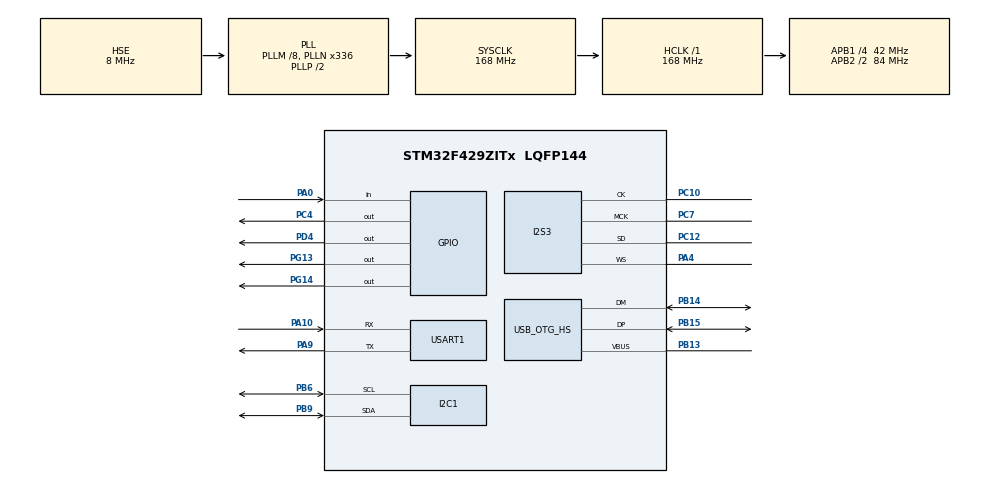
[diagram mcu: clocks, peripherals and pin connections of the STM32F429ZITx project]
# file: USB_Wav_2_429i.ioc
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Dma.Request0=SPI3_TX
Dma.SPI3_TX.0.Direction=DMA_MEMORY_TO_PERIPH
Dma.SPI3_TX.0.FIFOMode=DMA_FIFOMODE_ENABLE
Dma.SPI3_TX.0.FIFOThreshold=DMA_FIFO_THRESHOLD_FULL
Dma.SPI3_TX.0.Instance=DMA1_Stream5
Dma.SPI3_TX.0.MemBurst=DMA_MBURST_SINGLE
Dma.SPI3_TX.0.MemDataAlignment=DMA_MDATAALIGN_HALFWORD
Dma.SPI3_TX.0.MemInc=DMA_MINC_ENABLE
Dma.SPI3_TX.0.Mode=DMA_CIRCULAR
Dma.SPI3_TX.0.PeriphBurst=DMA_PBURST_SINGLE
Dma.SPI3_TX.0.PeriphDataAlignment=DMA_PDATAALIGN_HALFWORD
Dma.SPI3_TX.0.PeriphInc=DMA_PINC_DISABLE
Dma.SPI3_TX.0.Priority=DMA_PRIORITY_LOW
I2S3.AudioFreq=I2S_AUDIOFREQ_44K
I2S3.ErrorAudioFreq=0.24 %
I2S3.FullDuplexMode=I2S_FULLDUPLEXMODE_DISABLE
I2S3.Instance=SPI$Index
I2S3.RealAudioFreq=44.108 KHz
I2S3.VirtualMode=I2S_MODE_MASTER
Mcu.Family=STM32F4
Mcu.Name=STM32F429ZITx
Mcu.Package=LQFP144
NVIC.DMA1_Stream5_IRQn=true\:0\:0\:false\:false\:true\:false\:true\:true
NVIC.OTG_HS_IRQn=true\:0\:0\:false\:false\:true\:false\:true\:true
NVIC.PriorityGroup=NVIC_PRIORITYGROUP_0
PA0/WKUP.Signal=GPIO_Input
PA10.Mode=Asynchronous
PA10.Signal=USART1_RX
PA4.Mode=Half_Duplex_Master
PA4.Signal=I2S3_WS
PA9.Mode=Asynchronous
PA9.Signal=USART1_TX
PB13.Mode=Activate_VBUS_FS
PB13.Signal=USB_OTG_HS_VBUS
PB14.Mode=Host_FS
PB14.Signal=USB_OTG_HS_DM
PB15.Mode=Host_FS
PB15.Signal=USB_OTG_HS_DP
PB6.Mode=I2C
PB6.Signal=I2C1_SCL
PB9.Mode=I2C
PB9.Signal=I2C1_SDA
PC10.Mode=Half_Duplex_Master
PC10.Signal=I2S3_CK
PC12.Mode=Half_Duplex_Master
PC12.Signal=I2S3_SD
PC4.Signal=GPIO_Output
PC7.Mode=Master_Clock_Activated
PC7.Signal=I2S3_MCK
PD4.Signal=GPIO_Output
PG13.Signal=GPIO_Output
PG14.Signal=GPIO_Output
PH0/OSC_IN.Mode=HSE-External-Oscillator
PH0/OSC_IN.Signal=RCC_OSC_IN
PH1/OSC_OUT.Mode=HSE-External-Oscillator
PH1/OSC_OUT.Signal=RCC_OSC_OUT
ProjectManager.HeapSize=0x2000
ProjectManager.StackSize=0x2000
ProjectManager.TargetToolchain=STM32CubeIDE
RCC.48MHZClocksFreq_Value=48000000
RCC.AHBFreq_Value=168000000
RCC.APB1CLKDivider=RCC_HCLK_DIV4
RCC.APB1Freq_Value=42000000
RCC.APB1TimFreq_Value=84000000
RCC.APB2CLKDivider=RCC_HCLK_DIV2
RCC.APB2Freq_Value=84000000
RCC.APB2TimFreq_Value=168000000
RCC.CortexFreq_Value=168000000
RCC.HCLKFreq_Value=168000000
RCC.HSE_VALUE=8000000
RCC.HSI_VALUE=16000000
RCC.LSE_VALUE=32768
RCC.PLLI2SN=271
RCC.PLLI2SR=6
RCC.PLLM=8
RCC.PLLN=336
RCC.PLLQ=7
RCC.SYSCLKFreq_VALUE=168000000
RCC.SYSCLKSource=RCC_SYSCLKSOURCE_PLLCLK
RCC.VCOOutputFreq_Value=336000000
USART1.VirtualMode=VM_ASYNC
USB_HOST.BSP.number=1
USB_HOST.USBH_HandleTypeDef-MSC_HS=hUsbHostHS
USB_HOST.VirtualModeHS=Msc
USB_HOST0.BSP.STBoard=false
USB_HOST0.BSP.api=Unknown
USB_HOST0.BSP.condition=SW_VBUS_DRIVE_MSC_HS \= false
USB_HOST0.BSP.instance=PC4
USB_HOST0.BSP.ip=GPIO
USB_HOST0.BSP.mode=Output
USB_HOST0.BSP.name=Drive_VBUS_HS
USB_HOST0.BSP.solution=PC4
USB_OTG_HS.VirtualMode-Host_FS=Host_FS
VP_FATFS_VS_USB.Mode=USB
VP_USB_HOST_VS_USB_HOST_MSC_HS.Mode=MSC_HS
board=STM32F429I-DISC1

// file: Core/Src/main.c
/* USER CODE BEGIN Header */
/**
  ******************************************************************************
  * @file           : main.c
  * @brief          : Main program body
  ******************************************************************************
  * @attention
  *
  * Copyright (c) 2023 STMicroelectronics.
  * All rights reserved.
  *
  * This software is licensed under terms that can be found in the LICENSE file
  * in the root directory of this software component.
  * If no LICENSE file comes with this software, it is provided AS-IS.
  *
  ******************************************************************************
  */
/* USER CODE END Header */
#include "main.h"
#include "fatfs.h"
#include "usb_host.h"

/* USER CODE BEGIN Includes */
#include "audioI2S.h"
#include "MY_CS43L22.h"
#include "wav_player.h"
/* USER CODE END Includes */

/* USER CODE BEGIN PTD */
extern ApplicationTypeDef Appli_state;
/* USER CODE END PTD */

I2C_HandleTypeDef hi2c1;

I2S_HandleTypeDef hi2s3;
DMA_HandleTypeDef hdma_spi3_tx;

UART_HandleTypeDef huart1;

/* USER CODE BEGIN PV */
//#define WAV_FILE1 "/Can.wav"
#define WAV_FILE1 "/Test1.wav"
#define WAV_FILE2 "/Test2.wav"
#define WAV_FILE3 "/Track1.wav"

/* USER CODE END PV */

void SystemClock_Config(void);
static void MX_GPIO_Init(void);
static void MX_DMA_Init(void);
static void MX_I2C1_Init(void);
static void MX_I2S3_Init(void);
static void MX_USART1_UART_Init(void);
void MX_USB_HOST_Process(void);

int main(void)
{

  /* MCU Configuration--------------------------------------------------------*/

  /* Reset of all peripherals, Initializes the Flash interface and the Systick. */
  HAL_Init();

  /* Configure the system clock */
  SystemClock_Config();

  /* Initialize all configured peripherals */
  MX_GPIO_Init();
  MX_DMA_Init();
  MX_I2C1_Init();
  MX_I2S3_Init();
  MX_USART1_UART_Init();
  MX_USB_HOST_Init();
  MX_FATFS_Init();
  /* USER CODE BEGIN 2 */
  CS43_Init1(hi2c1, MODE_I2S);
  CS43_SetVolume(150);
  CS43_Enable_RightLeft(CS43_RIGHT_LEFT);

  audioI2S_setHandle(&hi2s3);
  bool isSdCardMounted = 0;
  bool pauseResumeToggle = 0;
  /* USER CODE END 2 */

  /* Infinite loop */
  /* USER CODE BEGIN WHILE */
  uint8_t playCount = 0;
  char wavFileArray[3][15] = {WAV_FILE1, WAV_FILE2, WAV_FILE3};
  HAL_UART_Transmit(&huart1, (uint8_t*)"Hello world, this is Wave player\r\n", 30, 1000);
  while (1)
  {
    /* USER CODE END WHILE */
    MX_USB_HOST_Process();

    /* USER CODE BEGIN 3 */
    if(Appli_state == APPLICATION_START)
    {
      HAL_GPIO_WritePin(GPIOG, GPIO_PIN_13, GPIO_PIN_SET);
    }
    else if(Appli_state == APPLICATION_DISCONNECT)
    {
      HAL_GPIO_WritePin(GPIOG, GPIO_PIN_13, GPIO_PIN_RESET);
      f_mount(NULL, (TCHAR const*)"", 0);
      isSdCardMounted = 0;
    }

    if(Appli_state == APPLICATION_READY)
    {
      if(!isSdCardMounted)
      {
        f_mount(&USBHFatFS, (const TCHAR*)USBHPath, 0);
        isSdCardMounted = 1;
      }

      {
        while(playCount < 3) {
        	if(HAL_GPIO_ReadPin(GPIOA, GPIO_PIN_0))
            HAL_GPIO_WritePin(GPIOG, GPIO_PIN_14, GPIO_PIN_SET);
            HAL_Delay(500);

			//wavPlayer_fileSelect(WAV_FILE3);
			wavPlayer_fileSelect(wavFileArray[playCount]);

        	//wavPlayer_fileSelect(wavFileArray[playCount]);
			wavPlayer_play();

			while(!wavPlayer_isFinished())
			{
			  wavPlayer_process();
			  if(HAL_GPIO_ReadPin(GPIOA, GPIO_PIN_0))
			  {
				pauseResumeToggle ^= 1;
				if(pauseResumeToggle)
				{
				  HAL_GPIO_WritePin(GPIOG, GPIO_PIN_14, GPIO_PIN_SET);
				  wavPlayer_pause();
				  HAL_Delay(200);
				}
				else
				{
				  HAL_GPIO_WritePin(GPIOG, GPIO_PIN_14, GPIO_PIN_RESET);
				  HAL_Delay(1000);
				  if(HAL_GPIO_ReadPin(GPIOA, GPIO_PIN_0))
				  {
					wavPlayer_stop();
				  }
				  {
					wavPlayer_resume();
				  }
				}
			  }
			}
	        HAL_GPIO_WritePin(GPIOG, GPIO_PIN_13, GPIO_PIN_RESET);
	        playCount ++;
	        HAL_Delay(1000);
        }
      }
    }
  }
  /* USER CODE END 3 */
}

void SystemClock_Config(void)
{
  RCC_OscInitTypeDef RCC_OscInitStruct = {0};
  RCC_ClkInitTypeDef RCC_ClkInitStruct = {0};

  /** Configure the main internal regulator output voltage
  */
  __HAL_RCC_PWR_CLK_ENABLE();
  __HAL_PWR_VOLTAGESCALING_CONFIG(PWR_REGULATOR_VOLTAGE_SCALE1);

  /** Initializes the RCC Oscillators according to the specified parameters
  * in the RCC_OscInitTypeDef structure.
  */
  RCC_OscInitStruct.OscillatorType = RCC_OSCILLATORTYPE_HSE;
  RCC_OscInitStruct.HSEState = RCC_HSE_ON;
  RCC_OscInitStruct.PLL.PLLState = RCC_PLL_ON;
  RCC_OscInitStruct.PLL.PLLSource = RCC_PLLSOURCE_HSE;
  RCC_OscInitStruct.PLL.PLLM = 8;
  RCC_OscInitStruct.PLL.PLLN = 336;
  RCC_OscInitStruct.PLL.PLLP = RCC_PLLP_DIV2;
  RCC_OscInitStruct.PLL.PLLQ = 7;
  if (HAL_RCC_OscConfig(&RCC_OscInitStruct) != HAL_OK)
  {
    Error_Handler();
  }

  /** Initializes the CPU, AHB and APB buses clocks
  */
  RCC_ClkInitStruct.ClockType = RCC_CLOCKTYPE_HCLK|RCC_CLOCKTYPE_SYSCLK
                              |RCC_CLOCKTYPE_PCLK1|RCC_CLOCKTYPE_PCLK2;
  RCC_ClkInitStruct.SYSCLKSource = RCC_SYSCLKSOURCE_PLLCLK;
  RCC_ClkInitStruct.AHBCLKDivider = RCC_SYSCLK_DIV1;
  RCC_ClkInitStruct.APB1CLKDivider = RCC_HCLK_DIV4;
  RCC_ClkInitStruct.APB2CLKDivider = RCC_HCLK_DIV2;

  if (HAL_RCC_ClockConfig(&RCC_ClkInitStruct, FLASH_LATENCY_5) != HAL_OK)
  {
    Error_Handler();
  }
}

static void MX_I2C1_Init(void)
{

  hi2c1.Instance = I2C1;
  hi2c1.Init.ClockSpeed = 100000;
  hi2c1.Init.DutyCycle = I2C_DUTYCYCLE_2;
  hi2c1.Init.OwnAddress1 = 0;
  hi2c1.Init.AddressingMode = I2C_ADDRESSINGMODE_7BIT;
  hi2c1.Init.DualAddressMode = I2C_DUALADDRESS_DISABLE;
  hi2c1.Init.OwnAddress2 = 0;
  hi2c1.Init.GeneralCallMode = I2C_GENERALCALL_DISABLE;
  hi2c1.Init.NoStretchMode = I2C_NOSTRETCH_DISABLE;
  if (HAL_I2C_Init(&hi2c1) != HAL_OK)
  {
    Error_Handler();
  }

  /** Configure Analogue filter
  */
  if (HAL_I2CEx_ConfigAnalogFilter(&hi2c1, I2C_ANALOGFILTER_ENABLE) != HAL_OK)
  {
    Error_Handler();
  }

  /** Configure Digital filter
  */
  if (HAL_I2CEx_ConfigDigitalFilter(&hi2c1, 0) != HAL_OK)
  {
    Error_Handler();
  }

}

static void MX_I2S3_Init(void)
{

  hi2s3.Instance = SPI3;
  hi2s3.Init.Mode = I2S_MODE_MASTER_TX;
  hi2s3.Init.Standard = I2S_STANDARD_PHILIPS;
  hi2s3.Init.DataFormat = I2S_DATAFORMAT_16B;
  hi2s3.Init.MCLKOutput = I2S_MCLKOUTPUT_ENABLE;
  hi2s3.Init.AudioFreq = I2S_AUDIOFREQ_44K;
  hi2s3.Init.CPOL = I2S_CPOL_LOW;
  hi2s3.Init.ClockSource = I2S_CLOCK_PLL;
  hi2s3.Init.FullDuplexMode = I2S_FULLDUPLEXMODE_DISABLE;
  if (HAL_I2S_Init(&hi2s3) != HAL_OK)
  {
    Error_Handler();
  }

}

static void MX_USART1_UART_Init(void)
{

  huart1.Instance = USART1;
  huart1.Init.BaudRate = 115200;
  huart1.Init.WordLength = UART_WORDLENGTH_8B;
  huart1.Init.StopBits = UART_STOPBITS_1;
  huart1.Init.Parity = UART_PARITY_NONE;
  huart1.Init.Mode = UART_MODE_TX_RX;
  huart1.Init.HwFlowCtl = UART_HWCONTROL_NONE;
  huart1.Init.OverSampling = UART_OVERSAMPLING_16;
  if (HAL_UART_Init(&huart1) != HAL_OK)
  {
    Error_Handler();
  }

}

static void MX_DMA_Init(void)
{

  /* DMA controller clock enable */
  __HAL_RCC_DMA1_CLK_ENABLE();

  /* DMA interrupt init */
  /* DMA1_Stream5_IRQn interrupt configuration */
  HAL_NVIC_SetPriority(DMA1_Stream5_IRQn, 0, 0);
  HAL_NVIC_EnableIRQ(DMA1_Stream5_IRQn);

}

static void MX_GPIO_Init(void)
{
  GPIO_InitTypeDef GPIO_InitStruct = {0};

  /* GPIO Ports Clock Enable */
  __HAL_RCC_GPIOH_CLK_ENABLE();
  __HAL_RCC_GPIOA_CLK_ENABLE();
  __HAL_RCC_GPIOC_CLK_ENABLE();
  __HAL_RCC_GPIOB_CLK_ENABLE();
  __HAL_RCC_GPIOD_CLK_ENABLE();
  __HAL_RCC_GPIOG_CLK_ENABLE();

  /*Configure GPIO pin Output Level */
  HAL_GPIO_WritePin(GPIOC, GPIO_PIN_4, GPIO_PIN_RESET);

  /*Configure GPIO pin Output Level */
  HAL_GPIO_WritePin(GPIOD, GPIO_PIN_4, GPIO_PIN_RESET);

  /*Configure GPIO pin Output Level */
  HAL_GPIO_WritePin(GPIOG, GPIO_PIN_13|GPIO_PIN_14, GPIO_PIN_RESET);

  /*Configure GPIO pin : PA0 */
  GPIO_InitStruct.Pin = GPIO_PIN_0;
  GPIO_InitStruct.Mode = GPIO_MODE_INPUT;
  GPIO_InitStruct.Pull = GPIO_NOPULL;
  HAL_GPIO_Init(GPIOA, &GPIO_InitStruct);

  /*Configure GPIO pin : PC4 */
  GPIO_InitStruct.Pin = GPIO_PIN_4;
  GPIO_InitStruct.Mode = GPIO_MODE_OUTPUT_PP;
  GPIO_InitStruct.Pull = GPIO_NOPULL;
  GPIO_InitStruct.Speed = GPIO_SPEED_FREQ_LOW;
  HAL_GPIO_Init(GPIOC, &GPIO_InitStruct);

  /*Configure GPIO pin : PD4 */
  GPIO_InitStruct.Pin = GPIO_PIN_4;
  GPIO_InitStruct.Mode = GPIO_MODE_OUTPUT_PP;
  GPIO_InitStruct.Pull = GPIO_NOPULL;
  GPIO_InitStruct.Speed = GPIO_SPEED_FREQ_LOW;
  HAL_GPIO_Init(GPIOD, &GPIO_InitStruct);

  /*Configure GPIO pins : PG13 PG14 */
  GPIO_InitStruct.Pin = GPIO_PIN_13|GPIO_PIN_14;
  GPIO_InitStruct.Mode = GPIO_MODE_OUTPUT_PP;
  GPIO_InitStruct.Pull = GPIO_NOPULL;
  GPIO_InitStruct.Speed = GPIO_SPEED_FREQ_LOW;
  HAL_GPIO_Init(GPIOG, &GPIO_InitStruct);

}

void Error_Handler(void)
{
  __disable_irq();
  while (1)
  {
  }
}
